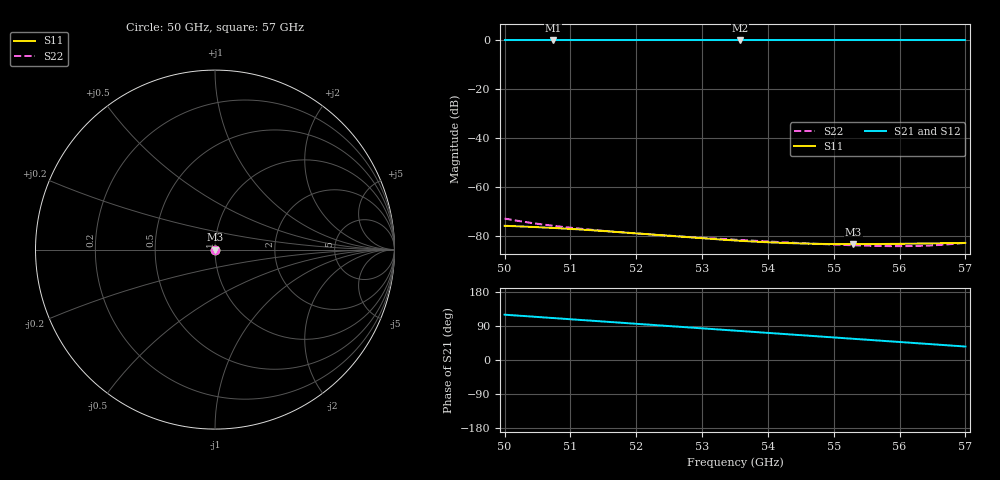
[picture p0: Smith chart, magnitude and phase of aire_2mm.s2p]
! TOUCHSTONE file generated by CST MICROWAVE STUDIO
! Date and time: Fri Feb  2 19:08:32 2024
! Project name: aire_def.cst
! Header version: 2018
! Port assignment regex: !\s*Touchstone port\s*([0-9]+)\s*=\s*(CST MWS port|CST DS port)\s*([0-9]+|Zmin|Zmax)\s*\(\"(.*)\"\)(\s*mode\s*([0-9]+))?.*
! Touchstone port assignment:
! Touchstone port 1 = CST MWS port 1 ("")
! Touchstone port 2 = CST MWS port 2 ("")
# GHz S MA R 376.7
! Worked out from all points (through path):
!   1001 points, 50 GHz to 57 GHz, reference 376.7 ohm
!   highest |S21| = 0.00 dB at 50.73 GHz (marker M1); lowest = 0.0 dB at 53.58 GHz (marker M2)
!   group delay of S21, straight-line fit = 33.4 ps
!   lowest |S11| = -83.4 dB at 55.3 GHz (marker M3), VSWR 1.00, Z = 377 - j0.0225 ohm
!   |S11| at or under -10 dB: start of sweep to end of sweep
!   |S22| runs from -84.2 to -72.9 dB; largest |S21 - S12| = 4.7e-05
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50  0.0001608 13.6  1 119.6  0.9999 119.6  0.0002263 11.1
50.035  0.0001602 13.8  1 119.1  0.9999 119.1  0.0002218 11.1
50.371  0.0001535 15.5  1 115.1  1 115.1  0.0001869 11.1
50.735  0.0001452 16.7  1 110.7  1 110.7  0.0001609 10.4
51.169  0.0001344 17.2  1 105.5  1 105.5  0.0001392 8.7
51.463  0.0001267 17.0  1 102.0  1 102.0  0.000128 7.0
51.757  0.0001189 16.3  1 98.5  1 98.5  0.0001187 4.9
52.051  0.0001113 15.0  1 94.9  1 94.9  0.0001108 2.5
52.338  0.0001041 13.3  1 91.5  1 91.5  0.0001041 -0.2
52.478  0.0001007 12.3  1 89.8  1 89.8  0.0001011 -1.7
52.534  9.937e-05 11.9  1 89.1  1 89.1  9.998e-05 -2.2
53.017  8.891e-05 7.4  1 83.3  1 83.3  9.104e-05 -7.8
53.5  8.037e-05 1.5  1 77.5  1 77.5  8.347e-05 -13.9
53.577  7.921e-05 0.5  1 76.6  1 76.6  8.237e-05 -14.9
54.116  7.272e-05 -7.4  1 70.1  1 70.1  7.534e-05 -22.3
54.669  6.894e-05 -16.2  1 63.5  1 63.5  6.933e-05 -30.1
54.984  6.796e-05 -21.2  1 59.7  1 59.7  6.647e-05 -34.5
55.299  6.766e-05 -26.2  1 55.9  1 55.9  6.409e-05 -38.6
55.838  6.834e-05 -34.0  1 49.5  1 49.5  6.166e-05 -44.8
56.461  7.011e-05 -42.0  1 42.0  1 42.0  6.355e-05 -51.0
56.797  7.115e-05 -45.8  1 38.0  1 38.0  6.802e-05 -55.4
57  7.174e-05 -47.9  1 35.5  1 35.5  7.194e-05 -59.2
